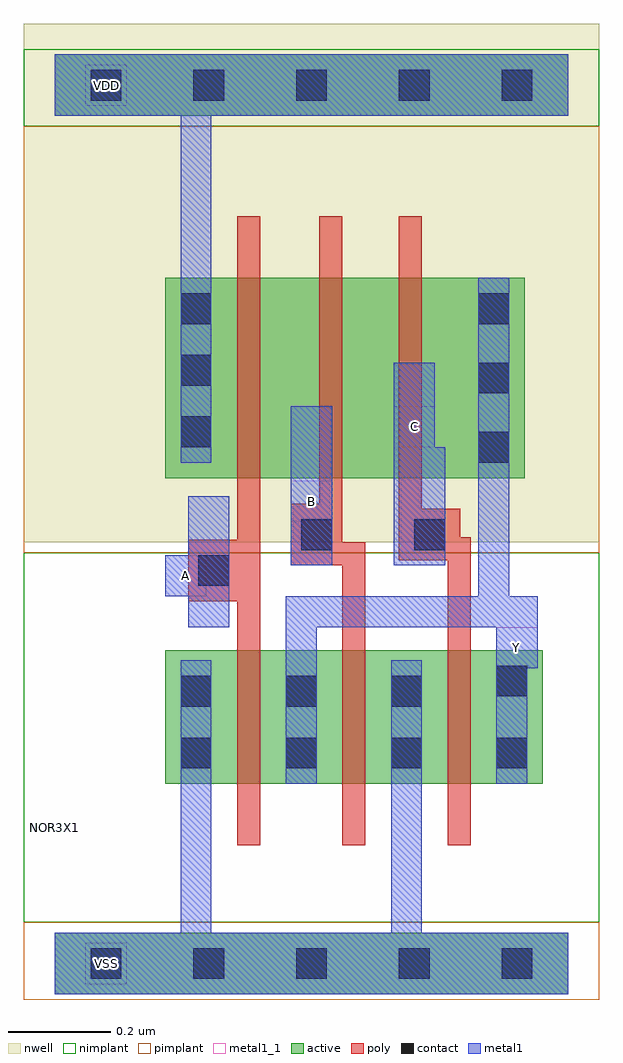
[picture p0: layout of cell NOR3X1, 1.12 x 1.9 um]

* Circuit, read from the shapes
.subckt NOR3X1 A B C VDD VSS Y
M1 Y A VSS VSS nfet w=0.26u l=0.045u
M2 VSS B Y VSS nfet w=0.26u l=0.045u
M3 Y C VSS VSS nfet w=0.26u l=0.045u
M4 n1 A VDD VDD pfet w=0.39u l=0.045u
M5 n2 B n1 VDD pfet w=0.39u l=0.045u
M6 Y C n2 VDD pfet w=0.39u l=0.045u
.ends

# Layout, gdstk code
import gdstk
lib = gdstk.Library(unit=1e-6, precision=5e-10)
def R(c, l, rs):  # rectangles x0, y0, x1, y1
    for r in rs: c.add(gdstk.rectangle(r[:2], r[2:], *l))
def A(c, l, x, y, w, h, nx, ny, dx, dy):  # array of equal rectangles
    R(c, l, [(x+i*dx, y+j*dy, x+i*dx+w, y+j*dy+h) for i in range(nx) for j in range(ny)])
def P(c, l, *ps):  # polygons
    for p in ps: c.add(gdstk.Polygon(p, *l))
active = (1, 0)
nwell = (2, 0)
poly = (3, 0)
nimplant = (4, 0)
pimplant = (5, 0)
contact = (6, 0)
metal1 = (7, 0)
metal1_1 = (7, 1)

nor3x1 = lib.new_cell('NOR3X1')
R(nor3x1, active, [(0,-0.06,1,0.06), (0.215,0.35,0.95,0.61), (0.215,0.945,0.915,1.335), (0,1.65,1,1.77)])
R(nor3x1, nwell, [(-0.06,0.82,1.06,1.83)])
P(nor3x1, poly, [(0.355,1.455),(0.4,1.455),(0.4,0.23),(0.355,0.23),(0.355,0.705),(0.26,0.705),(0.26,0.825),(0.355,0.825)],
  [(0.515,1.455),(0.56,1.455),(0.56,0.82),(0.605,0.82),(0.605,0.23),(0.56,0.23),(0.56,0.775),(0.46,0.775),(0.46,0.895),(0.515,0.895)],
  [(0.67,1.455),(0.715,1.455),(0.715,0.885),(0.79,0.885),(0.79,0.83),(0.81,0.83),(0.81,0.23),(0.765,0.23),(0.765,0.785),(0.67,0.785)])
R(nor3x1, nimplant, [(-0.06,0.08,1.06,0.8), (-0.06,1.63,1.06,1.78)])
R(nor3x1, pimplant, [(-0.06,-0.07,1.06,0.08), (-0.06,0.8,1.06,1.63)])
A(nor3x1, contact, 0.07, -0.03, 0.06, 0.06, 5, 2, 0.2, 1.71)
A(nor3x1, contact, 0.245, 0.38, 0.06, 0.06, 4, 1, 0.205, 0)
A(nor3x1, contact, 0.245, 0.5, 0.06, 0.06, 3, 1, 0.205, 0)
A(nor3x1, contact, 0.825, 0.975, 0.06, 0.06, 1, 3, 0, 0.135)
A(nor3x1, contact, 0.245, 1.005, 0.06, 0.06, 1, 3, 0, 0.12)
R(nor3x1, contact, [(0.86,0.52,0.92,0.58), (0.28,0.735,0.34,0.795), (0.48,0.805,0.54,0.865), (0.7,0.805,0.76,0.865)])
R(nor3x1, metal1, [(0.46,0.775,0.54,1.085)])
P(nor3x1, metal1, [(1,0.06),(0.715,0.06),(0.715,0.59),(0.655,0.59),(0.655,0.06),(0.305,0.06),(0.305,0.59),(0.245,0.59),(0.245,0.06),(0,0.06),(0,-0.06),(1,-0.06)],
  [(1,1.77),(0,1.77),(0,1.65),(0.245,1.65),(0.245,0.975),(0.305,0.975),(0.305,1.65),(1,1.65)],
  [(0.94,0.715),(0.885,0.715),(0.885,1.335),(0.825,1.335),(0.825,0.715),(0.45,0.715),(0.45,0.35),(0.51,0.35),(0.51,0.655),(0.86,0.655),(0.86,0.35),(0.92,0.35),(0.92,0.575),(0.94,0.575)],
  [(0.76,1.005),(0.74,1.005),(0.74,1.17),(0.66,1.17),(0.66,0.775),(0.76,0.775)],
  [(0.34,0.91),(0.26,0.91),(0.26,0.795),(0.215,0.795),(0.215,0.715),(0.26,0.715),(0.26,0.655),(0.34,0.655)])
R(nor3x1, metal1_1, [(0.06,-0.04,0.14,0.04), (0.86,0.575,0.94,0.655), (0.215,0.715,0.295,0.795), (0.46,0.86,0.54,0.94), (0.66,1.005,0.74,1.085), (0.06,1.67,0.14,1.75)])
nor3x1.add(gdstk.Label('C', (0.7,1.045), layer=7, texttype=1))
nor3x1.add(gdstk.Label('A', (0.255,0.755), layer=7, texttype=1))
nor3x1.add(gdstk.Label('VSS', (0.1,0), layer=7, texttype=1))
nor3x1.add(gdstk.Label('Y', (0.9,0.615), layer=7, texttype=1))
nor3x1.add(gdstk.Label('B', (0.5,0.9), layer=7, texttype=1))
nor3x1.add(gdstk.Label('VDD', (0.1,1.71), layer=7, texttype=1))
nor3x1.add(gdstk.Label('NOR3X1', (0,0.265), layer=63, texttype=0))

lib.write_gds('NOR3X1.gds')
